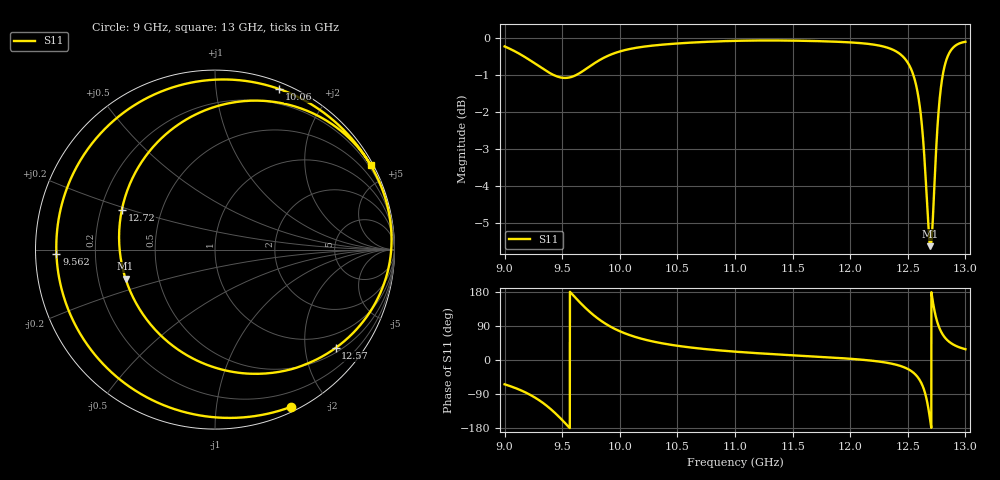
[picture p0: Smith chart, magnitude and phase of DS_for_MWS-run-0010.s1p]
! TOUCHSTONE file generated by CST DESIGN STUDIO
! Date and time: Tue Feb  4 12:42:36 2025
! Project name: C:\Work\MatlabApps\UnitCellOptimizationMatlab\CST\unitcell.cst
! Tree item: Tasks\Sweep1\SPara1\S-Parameters
! Header version: 2024
! Port assignment regex: !\s*Touchstone port\s*([0-9]+)\s*=\s*(CST MWS port|CST DES external port|CST DES block port)\s*(.+)\s* \(\"(.*)\"\)(\s*mode\s*([0-9]+))?.*
! Touchstone port assignment:
! Touchstone port 1 = CST DES external port 1 ("")
# GHz S MA R 50
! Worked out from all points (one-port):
!   4001 points, 9 GHz to 13 GHz, reference 50 ohm
!   lowest |S11| = -5.6 dB at 12.7 GHz (marker M1), VSWR 3.20, Z = 16 - j7.11 ohm
!   |S11| at or under -10 dB: nowhere
!   S11 on the Smith chart (normalised r, x): 9 GHz: 0.05, -1.59; 9.562 GHz: 0.06, -0.01; 10.06 GHz: 0.06, +1.47; 12.57 GHz: 0.61, -2.69; 12.72 GHz: 0.29, +0.19; 13 GHz: 0.11, +3.94
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9  0.973 -64.1
9.299  0.9151 -106.0
9.401  0.8945 -129.8
9.5  0.8831 -158.5
9.562  0.8838 -178.4
9.652  0.896 152.5
9.768  0.9211 119.5
9.87  0.9409 96.9
10  0.958 75.9
10.062  0.9635 68.3
10.252  0.9742 51.3
10.5  0.9819 37.5
11  0.9899 22.0
11.5  0.9906 12.4
12  0.9852 3.3
12.313  0.9704 -7.0
12.5  0.9251 -23.7
12.569  0.8673 -39.2
12.61  0.7951 -56.4
12.647  0.6786 -84.3
12.671  0.582 -115.0
12.696  0.5241 -162.1
12.716  0.5643 156.9
12.749  0.721 107.5
12.784  0.8477 77.8
12.821  0.9175 59.7
12.865  0.9564 46.7
13  0.9871 28.5
